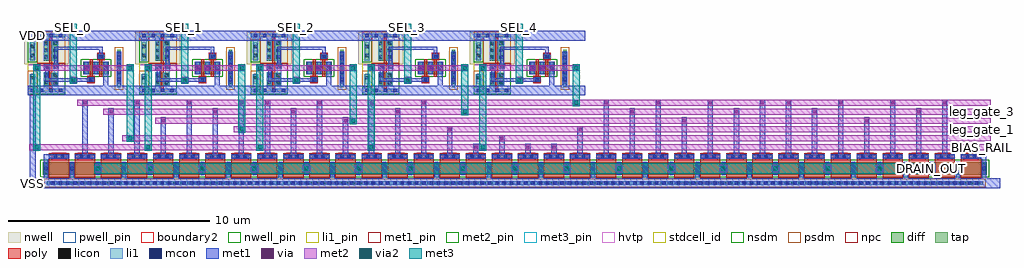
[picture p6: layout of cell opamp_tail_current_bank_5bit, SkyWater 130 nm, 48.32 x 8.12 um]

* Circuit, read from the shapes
.subckt opamp_tail_current_bank_5bit BIAS_RAIL DRAIN_OUT SEL_0 SEL_1 SEL_2 SEL_3 SEL_4 VDD VSS leg_gate_0 leg_gate_1 leg_gate_2 leg_gate_3 leg_gate_4
XM1 VSS VSS VSS VSS sky130_fd_pr__nfet_01v8 w=0.63 l=1 m=2
XM2 switch_nmos_gate_select_0/sel_b SEL_0 VSS VSS sky130_fd_pr__nfet_01v8 w=0.65 l=0.15
XM3 DRAIN_OUT leg_gate_4 VSS VSS sky130_fd_pr__nfet_01v8 w=0.63 l=1 m=16
XM4 leg_gate_0 SEL_0 BIAS_RAIL VSS sky130_fd_pr__nfet_01v8 w=0.6 l=0.15
XM5 VSS switch_nmos_gate_select_0/sel_b leg_gate_0 VSS sky130_fd_pr__nfet_01v8 w=0.6 l=0.15
XM6 VSS leg_gate_3 DRAIN_OUT VSS sky130_fd_pr__nfet_01v8 w=0.63 l=1 m=8
XM7 VSS leg_gate_2 DRAIN_OUT VSS sky130_fd_pr__nfet_01v8 w=0.63 l=1 m=4
XM8 switch_nmos_gate_select_1/sel_b SEL_1 VSS VSS sky130_fd_pr__nfet_01v8 w=0.65 l=0.15
XM9 leg_gate_1 SEL_1 BIAS_RAIL VSS sky130_fd_pr__nfet_01v8 w=0.6 l=0.15
XM10 VSS switch_nmos_gate_select_1/sel_b leg_gate_1 VSS sky130_fd_pr__nfet_01v8 w=0.6 l=0.15
XM11 switch_nmos_gate_select_2/sel_b SEL_2 VSS VSS sky130_fd_pr__nfet_01v8 w=0.65 l=0.15
XM12 leg_gate_2 SEL_2 BIAS_RAIL VSS sky130_fd_pr__nfet_01v8 w=0.6 l=0.15
XM13 VSS switch_nmos_gate_select_2/sel_b leg_gate_2 VSS sky130_fd_pr__nfet_01v8 w=0.6 l=0.15
XM14 switch_nmos_gate_select_3/sel_b SEL_3 VSS VSS sky130_fd_pr__nfet_01v8 w=0.65 l=0.15
XM15 leg_gate_3 SEL_3 BIAS_RAIL VSS sky130_fd_pr__nfet_01v8 w=0.6 l=0.15
XM16 VSS switch_nmos_gate_select_3/sel_b leg_gate_3 VSS sky130_fd_pr__nfet_01v8 w=0.6 l=0.15
XM17 DRAIN_OUT leg_gate_1 VSS VSS sky130_fd_pr__nfet_01v8 w=0.63 l=1 m=2
XM18 VSS BIAS_RAIL DRAIN_OUT VSS sky130_fd_pr__nfet_01v8 w=0.63 l=1 m=3
XM19 DRAIN_OUT leg_gate_0 VSS VSS sky130_fd_pr__nfet_01v8 w=0.63 l=1
XM20 switch_nmos_gate_select_4/sel_b SEL_4 VSS VSS sky130_fd_pr__nfet_01v8 w=0.65 l=0.15
XM21 leg_gate_4 SEL_4 BIAS_RAIL VSS sky130_fd_pr__nfet_01v8 w=0.6 l=0.15
XM22 VSS switch_nmos_gate_select_4/sel_b leg_gate_4 VSS sky130_fd_pr__nfet_01v8 w=0.6 l=0.15
XM23 switch_nmos_gate_select_0/sel_b SEL_0 VDD VDD sky130_fd_pr__pfet_01v8_hvt w=1 l=0.15
XM24 switch_nmos_gate_select_1/sel_b SEL_1 VDD VDD sky130_fd_pr__pfet_01v8_hvt w=1 l=0.15
XM25 switch_nmos_gate_select_2/sel_b SEL_2 VDD VDD sky130_fd_pr__pfet_01v8_hvt w=1 l=0.15
XM26 switch_nmos_gate_select_3/sel_b SEL_3 VDD VDD sky130_fd_pr__pfet_01v8_hvt w=1 l=0.15
XM27 switch_nmos_gate_select_4/sel_b SEL_4 VDD VDD sky130_fd_pr__pfet_01v8_hvt w=1 l=0.15
.ends

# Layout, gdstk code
import gdstk
lib = gdstk.Library(unit=1e-6, precision=1e-09)
def R(c, l, rs):  # rectangles x0, y0, x1, y1
    for r in rs: c.add(gdstk.rectangle(r[:2], r[2:], *l))
def A(c, l, x, y, w, h, nx, ny, dx, dy):  # array of equal rectangles
    R(c, l, [(x+i*dx, y+j*dy, x+i*dx+w, y+j*dy+h) for i in range(nx) for j in range(ny)])
def P(c, l, *ps):  # polygons
    for p in ps: c.add(gdstk.Polygon(p, *l))
nwell_pin = (64, 16)
nwell = (64, 20)
diff = (65, 20)
tap = (65, 44)
poly = (66, 20)
licon = (66, 44)
li1_pin = (67, 16)
li1 = (67, 20)
mcon = (67, 44)
met1_pin = (68, 16)
met1 = (68, 20)
via = (68, 44)
met2_pin = (69, 16)
met2 = (69, 20)
via2 = (69, 44)
met3_pin = (70, 16)
met3 = (70, 20)
hvtp = (78, 44)
stdcell_id = (81, 4)
nsdm = (93, 44)
psdm = (94, 20)
npc = (95, 20)
pwell_pin = (122, 16)
boundary2 = (236, 0)

sky130_fd_sc_hd__inv_1 = lib.new_cell('sky130_fd_sc_hd__inv_1')
R(sky130_fd_sc_hd__inv_1, nwell_pin, [(0.145,2.635,0.315,2.805), (0.145,2.635,0.315,2.805)])
R(sky130_fd_sc_hd__inv_1, nwell, [(-0.19,1.305,1.57,2.91)])
R(sky130_fd_sc_hd__inv_1, diff, [(0.34,0.235,1.01,0.885), (0.34,1.485,1.01,2.485)])
P(sky130_fd_sc_hd__inv_1, poly, [(0.6,0.105),(0.6,0.995),(0.32,0.995),(0.32,1.325),(0.6,1.325),(0.6,2.615),(0.75,2.615),(0.75,0.105)])
A(sky130_fd_sc_hd__inv_1, licon, 0.38, 1.575, 0.17, 0.17, 1, 3, 0, 0.34)
A(sky130_fd_sc_hd__inv_1, licon, 0.8, 1.575, 0.17, 0.17, 1, 3, 0, 0.34)
R(sky130_fd_sc_hd__inv_1, licon, [(0.38,0.315,0.55,0.485), (0.8,0.315,0.97,0.485), (0.38,0.655,0.55,0.825), (0.8,0.655,0.97,0.825), (0.4,1.075,0.57,1.245)])
R(sky130_fd_sc_hd__inv_1, li1_pin, [(0.36,1.105,0.53,1.275), (0.82,1.105,0.99,1.275), (0.82,1.445,0.99,1.615)])
R(sky130_fd_sc_hd__inv_1, li1, [(0,-0.085,1.38,0.085), (0.32,0.005,0.55,0.905), (0.32,1.075,0.65,1.315), (0.34,1.495,0.55,2.675), (0,2.635,1.38,2.805)])
P(sky130_fd_sc_hd__inv_1, li1, [(0.72,0.255),(0.72,0.885),(0.82,0.885),(0.82,1.485),(0.72,1.485),(0.72,2.465),(1.05,2.465),(1.05,0.255)])
A(sky130_fd_sc_hd__inv_1, mcon, 0.145, -0.085, 0.17, 0.17, 3, 2, 0.46, 2.72)
R(sky130_fd_sc_hd__inv_1, met1_pin, [(0.145,-0.085,0.315,0.085), (0.145,-0.085,0.315,0.085), (0.145,2.635,0.315,2.805), (0.145,2.635,0.315,2.805)])
R(sky130_fd_sc_hd__inv_1, hvtp, [(0,1.25,1.38,2.72)])
R(sky130_fd_sc_hd__inv_1, stdcell_id, [(0,0,1.38,2.72)])
R(sky130_fd_sc_hd__inv_1, nsdm, [(0,-0.19,1.38,1.015)])
R(sky130_fd_sc_hd__inv_1, psdm, [(0,1.355,1.38,2.91)])
R(sky130_fd_sc_hd__inv_1, npc, [(0,0.975,1.38,1.345)])
R(sky130_fd_sc_hd__inv_1, pwell_pin, [(0.145,-0.085,0.315,0.085), (0.145,-0.085,0.315,0.085)])
R(sky130_fd_sc_hd__inv_1, boundary2, [(0,0,1.38,2.72)])
sky130_fd_sc_hd__inv_1.add(gdstk.FlexPath([(0,0),(1.38,0)], 0.48, ends="flush", simple_path=True, layer=68, datatype=20))  # met1
sky130_fd_sc_hd__inv_1.add(gdstk.FlexPath([(0,2.72),(1.38,2.72)], 0.48, ends="flush", simple_path=True, layer=68, datatype=20))  # met1
sky130_fd_sc_hd__inv_1.add(gdstk.Label('VPWR', (0.23,2.72), layer=68, texttype=5))
sky130_fd_sc_hd__inv_1.add(gdstk.Label('VGND', (0.23,0), layer=68, texttype=5))
sky130_fd_sc_hd__inv_1.add(gdstk.Label('inv_1', (0,0), layer=83, texttype=44))
sky130_fd_sc_hd__inv_1.add(gdstk.Label('A', (0.445,1.19), layer=67, texttype=5))
sky130_fd_sc_hd__inv_1.add(gdstk.Label('Y', (0.905,1.19), layer=67, texttype=5))
sky130_fd_sc_hd__inv_1.add(gdstk.Label('Y', (0.905,1.53), layer=67, texttype=5))
sky130_fd_sc_hd__inv_1.add(gdstk.Label('VPB', (0.23,2.72), layer=64, texttype=5))
sky130_fd_sc_hd__inv_1.add(gdstk.Label('VNB', (0.23,0), layer=64, texttype=59))

sky130_fd_pr__nfet_01v8_ = lib.new_cell('sky130_fd_pr__nfet_01v8_QTFSA9')
R(sky130_fd_pr__nfet_01v8_, diff, [(-0.625,-0.3,0.625,0.3)])
R(sky130_fd_pr__nfet_01v8_, poly, [(-0.405,-0.74,-0.075,-0.41), (0.165,-0.43,0.315,0.41), (-0.315,-0.41,-0.165,0.43), (0.075,0.41,0.405,0.74)])
A(sky130_fd_pr__nfet_01v8_, licon, -0.565, -0.085, 0.17, 0.17, 3, 1, 0.48, 0)
R(sky130_fd_pr__nfet_01v8_, licon, [(-0.325,-0.66,-0.155,-0.49), (0.155,0.49,0.325,0.66)])
A(sky130_fd_pr__nfet_01v8_, li1, -0.565, -0.32, 0.17, 0.64, 3, 1, 0.48, 0)
R(sky130_fd_pr__nfet_01v8_, li1, [(-0.405,-0.66,-0.075,-0.49), (0.075,0.49,0.405,0.66)])
A(sky130_fd_pr__nfet_01v8_, mcon, -0.565, -0.085, 0.17, 0.17, 3, 1, 0.48, 0)
R(sky130_fd_pr__nfet_01v8_, mcon, [(-0.325,-0.66,-0.155,-0.49), (0.155,0.49,0.325,0.66)])
A(sky130_fd_pr__nfet_01v8_, met1, -0.595, -0.3, 0.23, 0.6, 3, 1, 0.48, 0)
R(sky130_fd_pr__nfet_01v8_, met1, [(-0.385,-0.69,-0.095,-0.46), (0.095,0.46,0.385,0.69)])
R(sky130_fd_pr__nfet_01v8_, nsdm, [(-0.75,-0.425,0.75,0.425)])
R(sky130_fd_pr__nfet_01v8_, npc, [(-0.425,-0.76,-0.055,-0.39), (0.055,0.39,0.425,0.76)])
sky130_fd_pr__nfet_01v8_.add(gdstk.Label('G1', (0.24,0.575), layer=67, texttype=5))
sky130_fd_pr__nfet_01v8_.add(gdstk.Label('S1', (0,0), layer=67, texttype=5))
sky130_fd_pr__nfet_01v8_.add(gdstk.Label('G0', (-0.24,-0.575), layer=67, texttype=5))
sky130_fd_pr__nfet_01v8_.add(gdstk.Label('D0', (-0.48,0), layer=67, texttype=5))

sky130_fd_sc_hd__tapvpwr = lib.new_cell('sky130_fd_sc_hd__tapvpwrvgnd_1')
R(sky130_fd_sc_hd__tapvpwr, nwell, [(-0.19,1.305,0.65,2.91)])
R(sky130_fd_sc_hd__tapvpwr, tap, [(0.145,0.32,0.315,0.845), (0.145,1.525,0.315,2.4)])
R(sky130_fd_sc_hd__tapvpwr, licon, [(0.145,0.555,0.315,0.725), (0.145,1.645,0.315,1.815), (0.145,2.11,0.315,2.28)])
R(sky130_fd_sc_hd__tapvpwr, li1, [(0,-0.085,0.46,0.085), (0.085,0,0.375,0.81), (0.085,1.47,0.375,2.72), (0,2.635,0.46,2.805)])
R(sky130_fd_sc_hd__tapvpwr, mcon, [(0.145,-0.085,0.315,0.085), (0.145,2.635,0.315,2.805)])
R(sky130_fd_sc_hd__tapvpwr, met1_pin, [(0.105,-0.09,0.36,0.1), (0.11,2.62,0.375,2.765)])
R(sky130_fd_sc_hd__tapvpwr, met1, [(0,-0.24,0.46,0.24), (0,2.48,0.46,2.96)])
R(sky130_fd_sc_hd__tapvpwr, hvtp, [(0,1.25,0.46,2.72)])
R(sky130_fd_sc_hd__tapvpwr, stdcell_id, [(0,0,0.46,2.72)])
R(sky130_fd_sc_hd__tapvpwr, nsdm, [(0,-0.19,0.46,0.19), (0,1.395,0.46,2.53)])
R(sky130_fd_sc_hd__tapvpwr, psdm, [(0,0.19,0.46,0.975), (0,2.53,0.46,2.91)])
sky130_fd_sc_hd__tapvpwr.add(gdstk.Label('VGND', (0.23,0), layer=68, texttype=5))
sky130_fd_sc_hd__tapvpwr.add(gdstk.Label('VPWR', (0.23,2.72), layer=68, texttype=5))
sky130_fd_sc_hd__tapvpwr.add(gdstk.Label('tapvpwrvgnd_1', (0,0), layer=83, texttype=44))

switch_nmos_gate_select = lib.new_cell('switch_nmos_gate_select')
R(switch_nmos_gate_select, tap, [(4.42,0.18,4.59,2.02)])
A(switch_nmos_gate_select, licon, 4.42, 0.335, 0.17, 0.17, 1, 5, 0, 0.34)
R(switch_nmos_gate_select, li1, [(4.42,0.22,4.59,1.98), (0.86,1.075,1.03,1.245), (1.31,1.105,1.48,1.275)])
A(switch_nmos_gate_select, mcon, 4.42, 0.475, 0.17, 0.17, 1, 4, 0, 0.36)
R(switch_nmos_gate_select, mcon, [(0.86,1.075,1.03,1.245), (1.31,1.105,1.48,1.275)])
R(switch_nmos_gate_select, met1_pin, [(0,-0.24,0.46,0.24), (0,2.48,0.46,2.96)])
R(switch_nmos_gate_select, met1, [(0,-0.24,5.52,0.24), (3.74,0.24,3.97,0.92), (4.39,0.24,4.62,1.93), (2.09,0.39,2.41,0.435), (0.86,0.435,3.22,0.605), (0.86,0.605,1.03,1.045), (2.09,0.605,2.41,0.65), (3.05,0.605,3.22,0.63), (2.765,0.96,3.025,1.28), (3.245,0.96,3.505,1.28), (0.8,1.045,1.09,1.275), (1.25,1.075,1.54,1.305), (1.31,1.305,1.48,2.015), (3.53,1.61,3.7,2.015), (1.31,2.015,3.7,2.185), (0,2.48,5.52,2.96)])
R(switch_nmos_gate_select, via, [(2.175,0.445,2.325,0.595), (2.82,1.045,2.97,1.195), (3.3,1.045,3.45,1.195)])
R(switch_nmos_gate_select, met2, [(2.12,0.36,2.38,0.38), (2.065,0.38,2.435,0.66), (2.12,0.66,2.38,0.68), (0.265,0.98,0.635,0.99), (4.885,0.98,5.255,0.99), (0.265,0.99,3.055,1.25), (3.215,0.99,5.255,1.25), (0.265,1.25,0.635,1.26), (4.885,1.25,5.255,1.26)])
R(switch_nmos_gate_select, via2, [(2.15,0.42,2.35,0.62), (0.35,1.02,0.55,1.22), (4.97,1.02,5.17,1.22)])
R(switch_nmos_gate_select, met3_pin, [(2.1,0.37,2.4,0.67), (0.3,0.97,0.6,1.27), (4.92,0.97,5.22,1.27)])
R(switch_nmos_gate_select, met3, [(2.075,0.345,2.425,1.045), (0.275,0.595,0.625,1.295), (4.895,0.595,5.245,1.295)])
R(switch_nmos_gate_select, psdm, [(4.295,0.055,4.715,2.145)])
switch_nmos_gate_select.add(gdstk.Reference(sky130_fd_sc_hd__inv_1, (0.46,0)))
switch_nmos_gate_select.add(gdstk.Reference(sky130_fd_pr__nfet_01v8_, (3.375,1.12)))
switch_nmos_gate_select.add(gdstk.Reference(sky130_fd_sc_hd__tapvpwr, (0,0)))
switch_nmos_gate_select.add(gdstk.Label('VSS', (0.23,0), layer=68, texttype=5))
switch_nmos_gate_select.add(gdstk.Label('VDD', (0.23,2.72), layer=68, texttype=5))
switch_nmos_gate_select.add(gdstk.Label('sel_b', (2.505,2.1), layer=68, texttype=5))
switch_nmos_gate_select.add(gdstk.Label('SEL', (2.25,0.52), layer=70, texttype=5))
switch_nmos_gate_select.add(gdstk.Label('LEG_GATE', (5.07,1.12), layer=70, texttype=5))
switch_nmos_gate_select.add(gdstk.Label('BIAS_RAIL', (0.45,1.12), layer=70, texttype=5))

c_sky130_fd_pr__nfet_01v8_ = lib.new_cell('sky130_fd_pr__nfet_01v8_K36ZNK')
R(c_sky130_fd_pr__nfet_01v8_, diff, [(-23.365,-0.47,23.365,0.16)])
A(c_sky130_fd_pr__nfet_01v8_, poly, -23.075, -0.6, 1, 1.2, 36, 1, 1.29, 0)
A(c_sky130_fd_pr__nfet_01v8_, licon, -23.305, -0.41, 0.17, 0.17, 37, 2, 1.29, 0.34)
R(c_sky130_fd_pr__nfet_01v8_, licon, [(-22.83,0.35,-22.66,0.52), (-22.49,0.35,-22.32,0.52), (-21.54,0.35,-21.37,0.52), (-21.2,0.35,-21.03,0.52), (-20.25,0.35,-20.08,0.52), (-19.91,0.35,-19.74,0.52), (-18.96,0.35,-18.79,0.52), (-18.62,0.35,-18.45,0.52), (-17.67,0.35,-17.5,0.52), (-17.33,0.35,-17.16,0.52), (-16.38,0.35,-16.21,0.52), (-16.04,0.35,-15.87,0.52), (-15.09,0.35,-14.92,0.52), (-14.75,0.35,-14.58,0.52), (-13.8,0.35,-13.63,0.52), (-13.46,0.35,-13.29,0.52), (-12.51,0.35,-12.34,0.52), (-12.17,0.35,-12,0.52), (-11.22,0.35,-11.05,0.52), (-10.88,0.35,-10.71,0.52), (-9.93,0.35,-9.76,0.52), (-9.59,0.35,-9.42,0.52), (-8.64,0.35,-8.47,0.52), (-8.3,0.35,-8.13,0.52), (-7.35,0.35,-7.18,0.52), (-7.01,0.35,-6.84,0.52), (-6.06,0.35,-5.89,0.52), (-5.72,0.35,-5.55,0.52), (-4.77,0.35,-4.6,0.52), (-4.43,0.35,-4.26,0.52), (-3.48,0.35,-3.31,0.52), (-3.14,0.35,-2.97,0.52), (-2.19,0.35,-2.02,0.52), (-1.85,0.35,-1.68,0.52), (-0.9,0.35,-0.73,0.52), (-0.56,0.35,-0.39,0.52), (0.39,0.35,0.56,0.52), (0.73,0.35,0.9,0.52), (1.68,0.35,1.85,0.52), (2.02,0.35,2.19,0.52), (2.97,0.35,3.14,0.52), (3.31,0.35,3.48,0.52), (4.26,0.35,4.43,0.52), (4.6,0.35,4.77,0.52), (5.55,0.35,5.72,0.52), (5.89,0.35,6.06,0.52), (6.84,0.35,7.01,0.52), (7.18,0.35,7.35,0.52), (8.13,0.35,8.3,0.52), (8.47,0.35,8.64,0.52), (9.42,0.35,9.59,0.52), (9.76,0.35,9.93,0.52), (10.71,0.35,10.88,0.52), (11.05,0.35,11.22,0.52), (12,0.35,12.17,0.52), (12.34,0.35,12.51,0.52), (13.29,0.35,13.46,0.52), (13.63,0.35,13.8,0.52), (14.58,0.35,14.75,0.52), (14.92,0.35,15.09,0.52), (15.87,0.35,16.04,0.52), (16.21,0.35,16.38,0.52), (17.16,0.35,17.33,0.52), (17.5,0.35,17.67,0.52), (18.45,0.35,18.62,0.52), (18.79,0.35,18.96,0.52), (19.74,0.35,19.91,0.52), (20.08,0.35,20.25,0.52), (21.03,0.35,21.2,0.52), (21.37,0.35,21.54,0.52), (22.32,0.35,22.49,0.52), (22.66,0.35,22.83,0.52)])
A(c_sky130_fd_pr__nfet_01v8_, li1, -23.305, -0.49, 0.17, 0.67, 37, 1, 1.29, 0)
A(c_sky130_fd_pr__nfet_01v8_, li1, -23.075, 0.35, 1, 0.17, 36, 1, 1.29, 0)
A(c_sky130_fd_pr__nfet_01v8_, mcon, -23.305, -0.24, 0.17, 0.17, 37, 1, 1.29, 0)
R(c_sky130_fd_pr__nfet_01v8_, mcon, [(-22.84,0.35,-22.67,0.52), (-22.48,0.35,-22.31,0.52), (-21.55,0.35,-21.38,0.52), (-21.19,0.35,-21.02,0.52), (-20.26,0.35,-20.09,0.52), (-19.9,0.35,-19.73,0.52), (-18.97,0.35,-18.8,0.52), (-18.61,0.35,-18.44,0.52), (-17.68,0.35,-17.51,0.52), (-17.32,0.35,-17.15,0.52), (-16.39,0.35,-16.22,0.52), (-16.03,0.35,-15.86,0.52), (-15.1,0.35,-14.93,0.52), (-14.74,0.35,-14.57,0.52), (-13.81,0.35,-13.64,0.52), (-13.45,0.35,-13.28,0.52), (-12.52,0.35,-12.35,0.52), (-12.16,0.35,-11.99,0.52), (-11.23,0.35,-11.06,0.52), (-10.87,0.35,-10.7,0.52), (-9.94,0.35,-9.77,0.52), (-9.58,0.35,-9.41,0.52), (-8.65,0.35,-8.48,0.52), (-8.29,0.35,-8.12,0.52), (-7.36,0.35,-7.19,0.52), (-7,0.35,-6.83,0.52), (-6.07,0.35,-5.9,0.52), (-5.71,0.35,-5.54,0.52), (-4.78,0.35,-4.61,0.52), (-4.42,0.35,-4.25,0.52), (-3.49,0.35,-3.32,0.52), (-3.13,0.35,-2.96,0.52), (-2.2,0.35,-2.03,0.52), (-1.84,0.35,-1.67,0.52), (-0.91,0.35,-0.74,0.52), (-0.55,0.35,-0.38,0.52), (0.38,0.35,0.55,0.52), (0.74,0.35,0.91,0.52), (1.67,0.35,1.84,0.52), (2.03,0.35,2.2,0.52), (2.96,0.35,3.13,0.52), (3.32,0.35,3.49,0.52), (4.25,0.35,4.42,0.52), (4.61,0.35,4.78,0.52), (5.54,0.35,5.71,0.52), (5.9,0.35,6.07,0.52), (6.83,0.35,7,0.52), (7.19,0.35,7.36,0.52), (8.12,0.35,8.29,0.52), (8.48,0.35,8.65,0.52), (9.41,0.35,9.58,0.52), (9.77,0.35,9.94,0.52), (10.7,0.35,10.87,0.52), (11.06,0.35,11.23,0.52), (11.99,0.35,12.16,0.52), (12.35,0.35,12.52,0.52), (13.28,0.35,13.45,0.52), (13.64,0.35,13.81,0.52), (14.57,0.35,14.74,0.52), (14.93,0.35,15.1,0.52), (15.86,0.35,16.03,0.52), (16.22,0.35,16.39,0.52), (17.15,0.35,17.32,0.52), (17.51,0.35,17.68,0.52), (18.44,0.35,18.61,0.52), (18.8,0.35,18.97,0.52), (19.73,0.35,19.9,0.52), (20.09,0.35,20.26,0.52), (21.02,0.35,21.19,0.52), (21.38,0.35,21.55,0.52), (22.31,0.35,22.48,0.52), (22.67,0.35,22.84,0.52)])
A(c_sky130_fd_pr__nfet_01v8_, met1, -23.335, -0.47, 0.23, 0.63, 37, 1, 1.29, 0)
A(c_sky130_fd_pr__nfet_01v8_, met1, -23.055, 0.32, 0.96, 0.23, 36, 1, 1.29, 0)
R(c_sky130_fd_pr__nfet_01v8_, nsdm, [(-23.49,-0.595,23.49,0.285)])
A(c_sky130_fd_pr__nfet_01v8_, npc, -22.93, 0.25, 0.71, 0.37, 36, 1, 1.29, 0)
c_sky130_fd_pr__nfet_01v8_.add(gdstk.Label('G35', (22.575,0.435), layer=67, texttype=5))
c_sky130_fd_pr__nfet_01v8_.add(gdstk.Label('G33', (19.995,0.435), layer=67, texttype=5))
c_sky130_fd_pr__nfet_01v8_.add(gdstk.Label('G31', (17.415,0.435), layer=67, texttype=5))
c_sky130_fd_pr__nfet_01v8_.add(gdstk.Label('S31', (16.77,-0.155), layer=67, texttype=5))
c_sky130_fd_pr__nfet_01v8_.add(gdstk.Label('G30', (16.125,0.435), layer=67, texttype=5))
c_sky130_fd_pr__nfet_01v8_.add(gdstk.Label('D30', (15.48,-0.155), layer=67, texttype=5))
c_sky130_fd_pr__nfet_01v8_.add(gdstk.Label('D14', (-5.16,-0.155), layer=67, texttype=5))
c_sky130_fd_pr__nfet_01v8_.add(gdstk.Label('G12', (-7.095,0.435), layer=67, texttype=5))
c_sky130_fd_pr__nfet_01v8_.add(gdstk.Label('S33', (19.35,-0.155), layer=67, texttype=5))
c_sky130_fd_pr__nfet_01v8_.add(gdstk.Label('G24', (8.385,0.435), layer=67, texttype=5))
c_sky130_fd_pr__nfet_01v8_.add(gdstk.Label('G11', (-8.385,0.435), layer=67, texttype=5))
c_sky130_fd_pr__nfet_01v8_.add(gdstk.Label('G3', (-18.705,0.435), layer=67, texttype=5))
c_sky130_fd_pr__nfet_01v8_.add(gdstk.Label('G10', (-9.675,0.435), layer=67, texttype=5))
c_sky130_fd_pr__nfet_01v8_.add(gdstk.Label('G5', (-16.125,0.435), layer=67, texttype=5))
c_sky130_fd_pr__nfet_01v8_.add(gdstk.Label('D10', (-10.32,-0.155), layer=67, texttype=5))
c_sky130_fd_pr__nfet_01v8_.add(gdstk.Label('G32', (18.705,0.435), layer=67, texttype=5))
c_sky130_fd_pr__nfet_01v8_.add(gdstk.Label('G9', (-10.965,0.435), layer=67, texttype=5))
c_sky130_fd_pr__nfet_01v8_.add(gdstk.Label('G27', (12.255,0.435), layer=67, texttype=5))
c_sky130_fd_pr__nfet_01v8_.add(gdstk.Label('S9', (-11.61,-0.155), layer=67, texttype=5))
c_sky130_fd_pr__nfet_01v8_.add(gdstk.Label('S7', (-14.19,-0.155), layer=67, texttype=5))
c_sky130_fd_pr__nfet_01v8_.add(gdstk.Label('G6', (-14.835,0.435), layer=67, texttype=5))
c_sky130_fd_pr__nfet_01v8_.add(gdstk.Label('D0', (-23.22,-0.155), layer=67, texttype=5))
c_sky130_fd_pr__nfet_01v8_.add(gdstk.Label('G16', (-1.935,0.435), layer=67, texttype=5))
c_sky130_fd_pr__nfet_01v8_.add(gdstk.Label('G8', (-12.255,0.435), layer=67, texttype=5))
c_sky130_fd_pr__nfet_01v8_.add(gdstk.Label('D8', (-12.9,-0.155), layer=67, texttype=5))
c_sky130_fd_pr__nfet_01v8_.add(gdstk.Label('G1', (-21.285,0.435), layer=67, texttype=5))
c_sky130_fd_pr__nfet_01v8_.add(gdstk.Label('D2', (-20.64,-0.155), layer=67, texttype=5))
c_sky130_fd_pr__nfet_01v8_.add(gdstk.Label('S21', (3.87,-0.155), layer=67, texttype=5))
c_sky130_fd_pr__nfet_01v8_.add(gdstk.Label('G7', (-13.545,0.435), layer=67, texttype=5))
c_sky130_fd_pr__nfet_01v8_.add(gdstk.Label('G18', (0.645,0.435), layer=67, texttype=5))
c_sky130_fd_pr__nfet_01v8_.add(gdstk.Label('S3', (-19.35,-0.155), layer=67, texttype=5))
c_sky130_fd_pr__nfet_01v8_.add(gdstk.Label('D18', (0,-0.155), layer=67, texttype=5))
c_sky130_fd_pr__nfet_01v8_.add(gdstk.Label('D6', (-15.48,-0.155), layer=67, texttype=5))
c_sky130_fd_pr__nfet_01v8_.add(gdstk.Label('G22', (5.805,0.435), layer=67, texttype=5))
c_sky130_fd_pr__nfet_01v8_.add(gdstk.Label('S1', (-21.93,-0.155), layer=67, texttype=5))
c_sky130_fd_pr__nfet_01v8_.add(gdstk.Label('S35', (21.93,-0.155), layer=67, texttype=5))
c_sky130_fd_pr__nfet_01v8_.add(gdstk.Label('D4', (-18.06,-0.155), layer=67, texttype=5))
c_sky130_fd_pr__nfet_01v8_.add(gdstk.Label('S5', (-16.77,-0.155), layer=67, texttype=5))
c_sky130_fd_pr__nfet_01v8_.add(gdstk.Label('G0', (-22.575,0.435), layer=67, texttype=5))
c_sky130_fd_pr__nfet_01v8_.add(gdstk.Label('D22', (5.16,-0.155), layer=67, texttype=5))
c_sky130_fd_pr__nfet_01v8_.add(gdstk.Label('G4', (-17.415,0.435), layer=67, texttype=5))
c_sky130_fd_pr__nfet_01v8_.add(gdstk.Label('S17', (-1.29,-0.155), layer=67, texttype=5))
c_sky130_fd_pr__nfet_01v8_.add(gdstk.Label('G2', (-19.995,0.435), layer=67, texttype=5))
c_sky130_fd_pr__nfet_01v8_.add(gdstk.Label('G14', (-4.515,0.435), layer=67, texttype=5))
c_sky130_fd_pr__nfet_01v8_.add(gdstk.Label('D16', (-2.58,-0.155), layer=67, texttype=5))
c_sky130_fd_pr__nfet_01v8_.add(gdstk.Label('S11', (-9.03,-0.155), layer=67, texttype=5))
c_sky130_fd_pr__nfet_01v8_.add(gdstk.Label('G15', (-3.225,0.435), layer=67, texttype=5))
c_sky130_fd_pr__nfet_01v8_.add(gdstk.Label('D20', (2.58,-0.155), layer=67, texttype=5))
c_sky130_fd_pr__nfet_01v8_.add(gdstk.Label('G17', (-0.645,0.435), layer=67, texttype=5))
c_sky130_fd_pr__nfet_01v8_.add(gdstk.Label('G13', (-5.805,0.435), layer=67, texttype=5))
c_sky130_fd_pr__nfet_01v8_.add(gdstk.Label('G19', (1.935,0.435), layer=67, texttype=5))
c_sky130_fd_pr__nfet_01v8_.add(gdstk.Label('D32', (18.06,-0.155), layer=67, texttype=5))
c_sky130_fd_pr__nfet_01v8_.add(gdstk.Label('S25', (9.03,-0.155), layer=67, texttype=5))
c_sky130_fd_pr__nfet_01v8_.add(gdstk.Label('G20', (3.225,0.435), layer=67, texttype=5))
c_sky130_fd_pr__nfet_01v8_.add(gdstk.Label('G21', (4.515,0.435), layer=67, texttype=5))
c_sky130_fd_pr__nfet_01v8_.add(gdstk.Label('G28', (13.545,0.435), layer=67, texttype=5))
c_sky130_fd_pr__nfet_01v8_.add(gdstk.Label('D28', (12.9,-0.155), layer=67, texttype=5))
c_sky130_fd_pr__nfet_01v8_.add(gdstk.Label('D12', (-7.74,-0.155), layer=67, texttype=5))
c_sky130_fd_pr__nfet_01v8_.add(gdstk.Label('S23', (6.45,-0.155), layer=67, texttype=5))
c_sky130_fd_pr__nfet_01v8_.add(gdstk.Label('G34', (21.285,0.435), layer=67, texttype=5))
c_sky130_fd_pr__nfet_01v8_.add(gdstk.Label('G25', (9.675,0.435), layer=67, texttype=5))
c_sky130_fd_pr__nfet_01v8_.add(gdstk.Label('D34', (20.64,-0.155), layer=67, texttype=5))
c_sky130_fd_pr__nfet_01v8_.add(gdstk.Label('G29', (14.835,0.435), layer=67, texttype=5))
c_sky130_fd_pr__nfet_01v8_.add(gdstk.Label('S13', (-6.45,-0.155), layer=67, texttype=5))
c_sky130_fd_pr__nfet_01v8_.add(gdstk.Label('G23', (7.095,0.435), layer=67, texttype=5))
c_sky130_fd_pr__nfet_01v8_.add(gdstk.Label('D24', (7.74,-0.155), layer=67, texttype=5))
c_sky130_fd_pr__nfet_01v8_.add(gdstk.Label('D26', (10.32,-0.155), layer=67, texttype=5))
c_sky130_fd_pr__nfet_01v8_.add(gdstk.Label('G26', (10.965,0.435), layer=67, texttype=5))
c_sky130_fd_pr__nfet_01v8_.add(gdstk.Label('S19', (1.29,-0.155), layer=67, texttype=5))
c_sky130_fd_pr__nfet_01v8_.add(gdstk.Label('S15', (-3.87,-0.155), layer=67, texttype=5))
c_sky130_fd_pr__nfet_01v8_.add(gdstk.Label('S27', (11.61,-0.155), layer=67, texttype=5))
c_sky130_fd_pr__nfet_01v8_.add(gdstk.Label('S29', (14.19,-0.155), layer=67, texttype=5))

opamp_tail_current_bank_ = lib.new_cell('opamp_tail_current_bank_5bit')
R(opamp_tail_current_bank_, tap, [(0.18,0.155,46.55,0.325)])
A(opamp_tail_current_bank_, licon, 0.33, 0.155, 0.17, 0.17, 136, 1, 0.34, 0)
R(opamp_tail_current_bank_, li1, [(0.22,0.155,46.51,0.325)])
A(opamp_tail_current_bank_, mcon, 0.42, 0.155, 0.17, 0.17, 128, 1, 0.36, 0)
R(opamp_tail_current_bank_, met1_pin, [(-0.65,0,-0.35,0.48), (-0.75,7.3,-0.29,7.78)])
A(opamp_tail_current_bank_, met1, 1.32, 0.48, 0.23, 0.22, 18, 1, 2.58, 0)
A(opamp_tail_current_bank_, met1, 2.595, 0.805, 0.26, 0.32, 17, 1, 2.58, 0)
A(opamp_tail_current_bank_, met1, 1.6, 1.44, 0.96, 0.23, 34, 1, 1.29, 0)
A(opamp_tail_current_bank_, met1, 1.95, 1.67, 0.26, 2.71, 4, 1, 2.58, 0)
A(opamp_tail_current_bank_, met1, 10.98, 1.67, 0.26, 2.71, 4, 1, 2.58, 0)
A(opamp_tail_current_bank_, met1, 27.75, 1.67, 0.26, 2.71, 4, 1, 2.58, 0)
A(opamp_tail_current_bank_, met1, 36.78, 1.67, 0.26, 2.71, 4, 1, 2.58, 0)
R(opamp_tail_current_bank_, met1, [(-0.65,0,47.38,0.48), (-0.65,0.48,-0.35,4.82), (0.03,0.48,0.26,0.7), (46.47,0.48,46.7,0.7), (0.03,1.23,0.26,1.44), (46.47,1.23,46.7,1.44), (0.03,1.44,1.27,1.67), (45.46,1.44,46.7,1.67), (3.24,1.67,3.5,3.94), (5.82,1.67,6.08,3.5), (8.4,1.67,8.66,3.94), (12.27,1.67,12.53,3.94), (14.85,1.67,15.11,3.5), (17.43,1.67,17.69,3.94), (20.01,1.67,20.27,3.06), (21.3,1.67,21.56,2.18), (22.59,1.67,22.85,2.62), (23.88,1.67,24.14,2.18), (25.17,1.67,25.43,2.18), (26.46,1.67,26.72,3.06), (29.04,1.67,29.3,3.94), (31.62,1.67,31.88,3.5), (34.2,1.67,34.46,3.94), (38.07,1.67,38.33,3.94), (40.65,1.67,40.91,3.5), (43.23,1.67,43.49,3.94), (-0.75,7.3,26.85,7.78)])
A(opamp_tail_current_bank_, via, 2.65, 0.89, 0.15, 0.15, 17, 1, 2.58, 0)
A(opamp_tail_current_bank_, via, 2.005, 4.145, 0.15, 0.15, 4, 1, 2.58, 0)
A(opamp_tail_current_bank_, via, 11.035, 4.145, 0.15, 0.15, 4, 1, 2.58, 0)
A(opamp_tail_current_bank_, via, 27.805, 4.145, 0.15, 0.15, 4, 1, 2.58, 0)
A(opamp_tail_current_bank_, via, 36.835, 4.145, 0.15, 0.15, 4, 1, 2.58, 0)
R(opamp_tail_current_bank_, via, [(21.355,1.945,21.505,2.095), (23.935,1.945,24.085,2.095), (25.225,1.945,25.375,2.095), (22.645,2.385,22.795,2.535), (20.065,2.825,20.215,2.975), (26.515,2.825,26.665,2.975), (5.875,3.265,6.025,3.415), (14.905,3.265,15.055,3.415), (31.675,3.265,31.825,3.415), (40.705,3.265,40.855,3.415), (3.295,3.705,3.445,3.855), (8.455,3.705,8.605,3.855), (12.325,3.705,12.475,3.855), (17.485,3.705,17.635,3.855), (29.095,3.705,29.245,3.855), (34.255,3.705,34.405,3.855), (38.125,3.705,38.275,3.855), (43.285,3.705,43.435,3.855)])
R(opamp_tail_current_bank_, met2_pin, [(46.33,1.87,46.73,2.17)])
A(opamp_tail_current_bank_, met2, 2.54, 0.78, 0.37, 0.37, 17, 1, 2.58, 0)
R(opamp_tail_current_bank_, met2, [(-0.685,1.87,46.915,2.17), (3.935,2.31,46.915,2.61), (9.455,2.75,46.915,3.05), (5.565,3.19,46.915,3.49), (2.985,3.63,46.915,3.93), (1.695,4.07,46.915,4.37)])
A(opamp_tail_current_bank_, via2, 2.625, 0.865, 0.2, 0.2, 17, 1, 2.58, 0)
A(opamp_tail_current_bank_, via2, -0.4, 1.92, 0.2, 0.2, 5, 1, 5.52, 0)
R(opamp_tail_current_bank_, via2, [(4.22,2.36,4.42,2.56), (9.74,2.8,9.94,3), (15.26,3.24,15.46,3.44), (20.78,3.68,20.98,3.88), (26.3,4.12,26.5,4.32)])
A(opamp_tail_current_bank_, met3_pin, 1.325, 7.82, 0.35, 0.3, 5, 1, 5.52, 0)
R(opamp_tail_current_bank_, met3_pin, [(43.83,0.715,44.18,1.215)])
A(opamp_tail_current_bank_, met3, -0.475, 1.845, 0.35, 4.095, 5, 1, 5.52, 0)
A(opamp_tail_current_bank_, met3, 1.325, 5.34, 0.35, 2.78, 5, 1, 5.52, 0)
R(opamp_tail_current_bank_, met3, [(2.55,0.715,44.18,1.215), (4.145,2.285,4.495,5.94), (9.665,2.725,10.015,5.94), (15.185,3.165,15.535,5.94), (20.705,3.605,21.055,5.94), (26.225,4.045,26.575,5.94)])
R(opamp_tail_current_bank_, psdm, [(0.055,0.03,46.675,0.45)])
opamp_tail_current_bank_.add(gdstk.Reference(switch_nmos_gate_select, (-0.75,4.82)))
opamp_tail_current_bank_.add(gdstk.Reference(switch_nmos_gate_select, (4.77,4.82)))
opamp_tail_current_bank_.add(gdstk.Reference(switch_nmos_gate_select, (10.29,4.82)))
opamp_tail_current_bank_.add(gdstk.Reference(switch_nmos_gate_select, (15.81,4.82)))
opamp_tail_current_bank_.add(gdstk.Reference(switch_nmos_gate_select, (21.33,4.82)))
opamp_tail_current_bank_.add(gdstk.Reference(c_sky130_fd_pr__nfet_01v8_, (23.365,1.12)))
opamp_tail_current_bank_.add(gdstk.Label('VSS', (-0.5,0.24), layer=68, texttype=5))
opamp_tail_current_bank_.add(gdstk.Label('VDD', (-0.52,7.54), layer=68, texttype=5))
opamp_tail_current_bank_.add(gdstk.Label('SEL_4', (23.58,7.97), layer=70, texttype=5))
opamp_tail_current_bank_.add(gdstk.Label('SEL_3', (18.06,7.97), layer=70, texttype=5))
opamp_tail_current_bank_.add(gdstk.Label('SEL_2', (12.54,7.97), layer=70, texttype=5))
opamp_tail_current_bank_.add(gdstk.Label('SEL_1', (7.02,7.97), layer=70, texttype=5))
opamp_tail_current_bank_.add(gdstk.Label('DRAIN_OUT', (44.005,0.965), layer=70, texttype=5))
opamp_tail_current_bank_.add(gdstk.Label('SEL_0', (1.5,7.97), layer=70, texttype=5))
opamp_tail_current_bank_.add(gdstk.Label('BIAS_RAIL', (46.53,2.02), layer=69, texttype=5))
opamp_tail_current_bank_.add(gdstk.Label('leg_gate_3', (46.53,3.78), layer=69, texttype=5))
opamp_tail_current_bank_.add(gdstk.Label('leg_gate_2', (46.53,3.34), layer=69, texttype=5))
opamp_tail_current_bank_.add(gdstk.Label('leg_gate_4', (46.53,4.22), layer=69, texttype=5))
opamp_tail_current_bank_.add(gdstk.Label('leg_gate_1', (46.53,2.9), layer=69, texttype=5))
opamp_tail_current_bank_.add(gdstk.Label('leg_gate_0', (46.53,2.46), layer=69, texttype=5))

lib.write_gds('opamp_tail_current_bank_5bit.gds')
